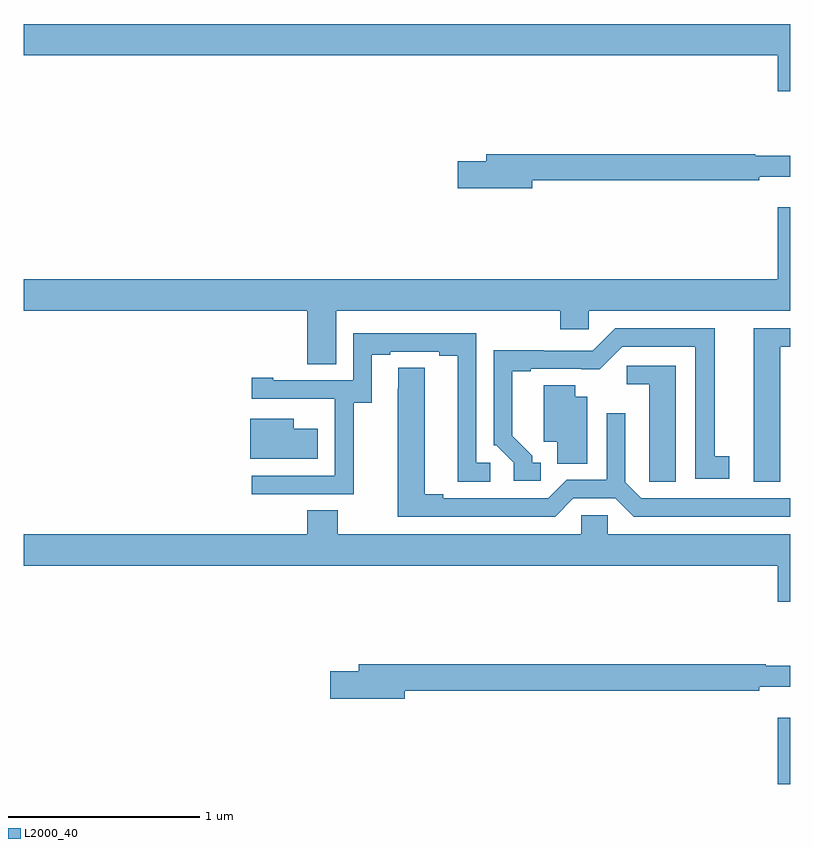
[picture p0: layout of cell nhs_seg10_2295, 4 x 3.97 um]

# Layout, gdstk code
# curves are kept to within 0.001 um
import gdstk
lib = gdstk.Library(unit=1e-6, precision=1e-09)
def R(c, l, rs):  # rectangles x0, y0, x1, y1
    for r in rs: c.add(gdstk.rectangle(r[:2], r[2:], *l))
def P(c, l, *ps):  # polygons
    for p in ps: c.add(gdstk.Polygon(p, *l))
L2000_40 = (2000, 40)

nhs_seg10_2295 = lib.new_cell('nhs_seg10_2295')
R(nhs_seg10_2295, L2000_40, [(236.936,1308.5,237,1308.847)])
P(nhs_seg10_2295, L2000_40, [(237,1312.468),(233,1312.468),(233,1312.304),(236.936,1312.304),(236.936,1312.116),(237,1312.116)],
  [(235.654,1311.652),(236.84,1311.652),(236.84,1311.671),(237,1311.671),(237,1311.781),(236.819,1311.781),(236.819,1311.788),(235.415,1311.788),(235.415,1311.752),(235.266,1311.752),(235.266,1311.61),(235.654,1311.61)],
  [(234.631,1310.972),(235.799,1310.972),(235.799,1310.874),(235.95,1310.874),(235.95,1310.972),(237,1310.972),(237,1311.511),(236.936,1311.511),(236.936,1311.136),(233,1311.136),(233,1310.972),(234.479,1310.972),(234.479,1310.692),(234.631,1310.692)],
  [(236.95,1310.784),(237,1310.784),(237,1310.88),(236.81,1310.88),(236.81,1310.079),(236.95,1310.079)],
  [(235.699,1310.178),(235.654,1310.178),(235.654,1310.213),(235.549,1310.318),(235.549,1310.655),(235.645,1310.655),(235.645,1310.667),(236.006,1310.666),(236.124,1310.784),(236.504,1310.784),(236.504,1310.094),(236.683,1310.094),(236.683,1310.21),(236.608,1310.21),(236.608,1310.88),(236.088,1310.88),(235.971,1310.763),(235.715,1310.763),(235.715,1310.765),(235.452,1310.765),(235.452,1310.268),(235.467,1310.268),(235.557,1310.178),(235.557,1310.082),(235.699,1310.082)],
  [(234.723,1310.491),(234.817,1310.491),(234.817,1310.742),(234.913,1310.742),(234.913,1310.757),(235.169,1310.757),(235.169,1310.737),(235.265,1310.737),(235.265,1310.077),(235.435,1310.077),(235.435,1310.178),(235.362,1310.178),(235.362,1310.853),(234.72,1310.853),(234.72,1310.607),(234.301,1310.607),(234.301,1310.62),(234.189,1310.62),(234.189,1310.511),(234.623,1310.511),(234.623,1310.51),(234.624,1310.51),(234.624,1310.109),(234.189,1310.109),(234.189,1310.013),(234.723,1310.013)],
  [(236.404,1310.685),(236.148,1310.685),(236.148,1310.588),(236.264,1310.588),(236.264,1310.185),(236.265,1310.185),(236.265,1310.077),(236.404,1310.077)],
  [(235.869,1309.992),(236.087,1309.992),(236.183,1309.896),(237,1309.896),(237,1309.992),(236.223,1309.992),(236.139,1310.076),(236.139,1310.437),(236.043,1310.437),(236.043,1310.088),(235.833,1310.088),(235.737,1309.992),(235.189,1309.992),(235.189,1310.012),(235.093,1310.012),(235.093,1310.672),(234.954,1310.672),(234.953,1309.896),(235.773,1309.896)],
  [(235.942,1310.521),(235.879,1310.521),(235.879,1310.582),(235.715,1310.582),(235.715,1310.288),(235.784,1310.288),(235.784,1310.173),(235.942,1310.173)],
  [(234.535,1310.356),(234.409,1310.356),(234.409,1310.407),(234.182,1310.407),(234.182,1310.198),(234.535,1310.198)],
  [(237,1309.804),(236.049,1309.804),(236.049,1309.902),(235.911,1309.902),(235.911,1309.804),(234.639,1309.804),(234.639,1309.928),(234.479,1309.928),(234.479,1309.804),(233,1309.804),(233,1309.64),(236.936,1309.64),(236.936,1309.452),(237,1309.452)],
  [(234.988,1308.988),(236.84,1308.988),(236.84,1309.007),(237,1309.007),(237,1309.117),(236.872,1309.117),(236.872,1309.124),(234.749,1309.124),(234.749,1309.088),(234.6,1309.088),(234.6,1308.946),(234.988,1308.946)])

lib.write_gds('nhs_seg10_2295.gds')
